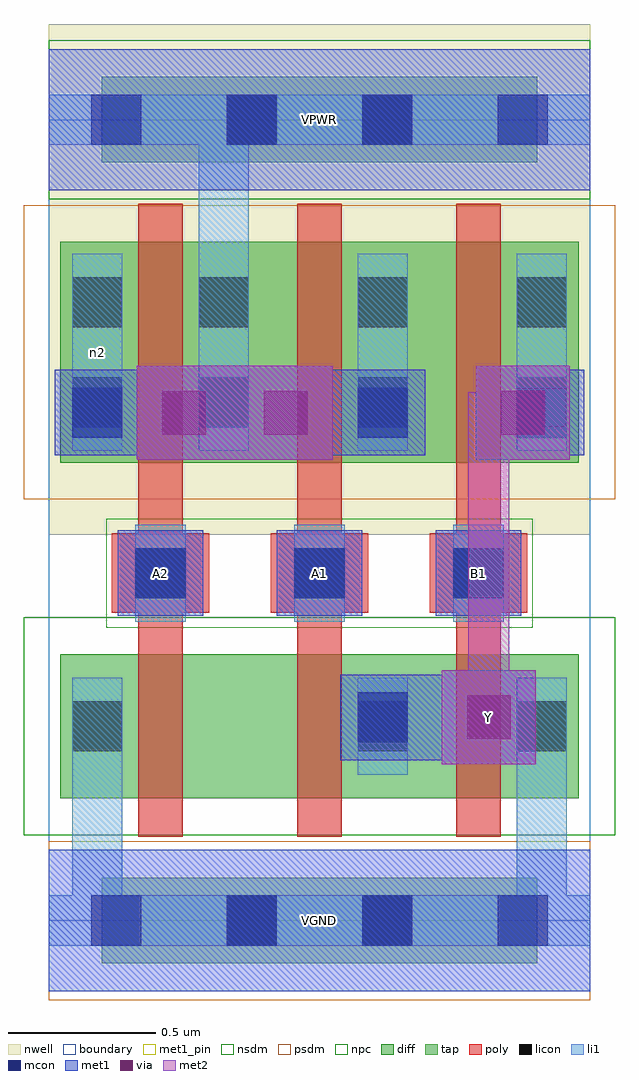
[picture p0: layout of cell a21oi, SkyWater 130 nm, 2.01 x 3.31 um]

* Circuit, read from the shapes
.subckt a21oi A1 A2 B1 VGND VPWR Y n2
XM1 n1 A2 VGND VGND sky130_fd_pr__nfet_01v8 w=0.49 l=0.15
XM2 Y A1 n1 VGND sky130_fd_pr__nfet_01v8 w=0.49 l=0.15
XM3 VGND B1 Y VGND sky130_fd_pr__nfet_01v8 w=0.49 l=0.15
XM4 VPWR A2 n2 VPWR sky130_fd_pr__pfet_01v8 w=0.75 l=0.15
XM5 n2 A1 VPWR VPWR sky130_fd_pr__pfet_01v8 w=0.75 l=0.15
XM6 Y B1 n2 VPWR sky130_fd_pr__pfet_01v8 w=0.75 l=0.15
.ends

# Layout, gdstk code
import gdstk
lib = gdstk.Library(unit=1e-6, precision=1e-09)
def R(c, l, rs):  # rectangles x0, y0, x1, y1
    for r in rs: c.add(gdstk.rectangle(r[:2], r[2:], *l))
def A(c, l, x, y, w, h, nx, ny, dx, dy):  # array of equal rectangles
    R(c, l, [(x+i*dx, y+j*dy, x+i*dx+w, y+j*dy+h) for i in range(nx) for j in range(ny)])
nwell = (64, 20)
diff = (65, 20)
tap = (65, 44)
poly = (66, 20)
licon = (66, 44)
li1 = (67, 20)
mcon = (67, 44)
met1_pin = (68, 16)
met1 = (68, 20)
via = (68, 44)
met2 = (69, 20)
nsdm = (93, 44)
psdm = (94, 20)
npc = (95, 20)
boundary = (235, 4)

a21oi = lib.new_cell('a21oi')
R(a21oi, nwell, [(0,1.31,1.84,3.045)])
R(a21oi, diff, [(0.04,0.415,1.8,0.905), (0.04,1.555,1.8,2.305)])
R(a21oi, tap, [(0.18,-0.145,1.66,0.145), (0.18,2.575,1.66,2.865)])
A(a21oi, poly, 0.305, 0.285, 0.15, 2.15, 3, 1, 0.54, 0)
A(a21oi, poly, 0.215, 1.045, 0.33, 0.27, 3, 1, 0.54, 0)
A(a21oi, licon, 0.295, 1.095, 0.17, 0.17, 3, 1, 0.54, 0)
A(a21oi, licon, 0.51, 1.675, 0.17, 0.17, 3, 2, 0.54, 0.34)
R(a21oi, licon, [(0.605,-0.085,0.775,0.085), (1.065,-0.085,1.235,0.085), (0.08,0.575,0.25,0.745), (1.05,0.575,1.22,0.745), (1.59,0.575,1.76,0.745), (0.08,1.675,0.25,1.845), (0.08,2.015,0.25,2.185), (0.605,2.635,0.775,2.805), (1.065,2.635,1.235,2.805)])
A(a21oi, li1, 0.295, 1.015, 0.17, 0.33, 3, 1, 0.54, 0)
A(a21oi, li1, 0.51, 1.595, 0.17, 0.67, 3, 1, 0.54, 0)
R(a21oi, li1, [(0,-0.085,1.84,0.085), (0.08,-0.085,0.25,0.825), (1.59,-0.085,1.76,0.825), (0.08,0.495,0.25,0.825), (1.05,0.495,1.22,0.825), (1.59,0.495,1.76,0.825), (0.08,1.595,0.25,2.265), (0.51,1.595,0.68,2.805), (0,2.635,1.84,2.805)])
A(a21oi, mcon, 0.145, -0.085, 0.17, 0.17, 4, 2, 0.46, 2.72)
A(a21oi, mcon, 0.295, 1.095, 0.17, 0.17, 3, 1, 0.54, 0)
R(a21oi, mcon, [(1.05,0.605,1.22,0.775), (0.08,1.64,0.25,1.81), (1.05,1.64,1.22,1.81), (1.59,1.64,1.76,1.81)])
A(a21oi, met1_pin, 0.235, 1.035, 0.29, 0.29, 3, 1, 0.54, 0)
R(a21oi, met1_pin, [(0,-0.24,1.84,0.24), (1.335,0.53,1.655,0.85), (0,2.48,1.84,2.96)])
A(a21oi, met1, 0.235, 1.035, 0.29, 0.29, 3, 1, 0.54, 0)
R(a21oi, met1, [(0,-0.24,1.84,0.24), (1.335,0.53,1.655,0.85), (0.99,0.545,1.28,0.835), (1.28,0.545,1.335,0.835), (1.065,0.62,1.335,0.76), (1.195,0.62,1.565,0.76), (0.3,1.565,0.62,1.885), (0.62,1.565,0.645,1.885), (0.645,1.565,0.965,1.885), (1.45,1.565,1.77,1.885), (0.02,1.58,0.31,1.87), (0.965,1.58,0.99,1.87), (0.99,1.58,1.28,1.87), (1.53,1.58,1.82,1.87), (0.095,1.655,0.415,1.795), (0.275,1.655,0.53,1.795), (0.53,1.655,0.645,1.795), (0.62,1.655,0.735,1.795), (0.735,1.655,1.105,1.795), (0.965,1.655,1.205,1.795), (1.54,1.655,1.745,1.795), (0,2.48,1.84,2.96)])
R(a21oi, via, [(1.42,0.615,1.57,0.765), (0.385,1.65,0.535,1.8), (0.73,1.65,0.88,1.8), (1.535,1.65,1.685,1.8)])
R(a21oi, met2, [(1.335,0.53,1.655,0.85), (1.425,0.62,1.565,1.795), (0.3,1.565,0.62,1.885), (0.62,1.565,0.645,1.885), (0.645,1.565,0.965,1.885), (1.45,1.565,1.77,1.885), (0.39,1.655,0.875,1.795), (1.425,1.655,1.68,1.795)])
R(a21oi, nsdm, [(-0.085,0.29,1.925,1.03), (0,2.45,1.84,2.99)])
R(a21oi, psdm, [(0,-0.27,1.84,0.27), (-0.085,1.43,1.925,2.43)])
R(a21oi, npc, [(0.195,0.995,1.645,1.365)])
R(a21oi, boundary, [(0,0,1.84,2.72)])
a21oi.add(gdstk.Label('n2', (0.165,1.93), layer=67, texttype=5))
a21oi.add(gdstk.Label('A1', (0.92,1.18), layer=68, texttype=5))
a21oi.add(gdstk.Label('A2', (0.38,1.18), layer=68, texttype=5))
a21oi.add(gdstk.Label('B1', (1.46,1.18), layer=68, texttype=5))
a21oi.add(gdstk.Label('Y', (1.495,0.69), layer=68, texttype=5))
a21oi.add(gdstk.Label('VPWR', (0.92,2.72), layer=68, texttype=5))
a21oi.add(gdstk.Label('VGND', (0.92,0), layer=68, texttype=5))
a21oi.add(gdstk.Label('A1', (0.92,1.18), layer=68, texttype=16))
a21oi.add(gdstk.Label('A2', (0.38,1.18), layer=68, texttype=16))
a21oi.add(gdstk.Label('B1', (1.46,1.18), layer=68, texttype=16))
a21oi.add(gdstk.Label('Y', (1.495,0.69), layer=68, texttype=16))
a21oi.add(gdstk.Label('VPWR', (0.92,2.72), layer=68, texttype=16))
a21oi.add(gdstk.Label('VGND', (0.92,0), layer=68, texttype=16))

lib.write_gds('a21oi.gds')
